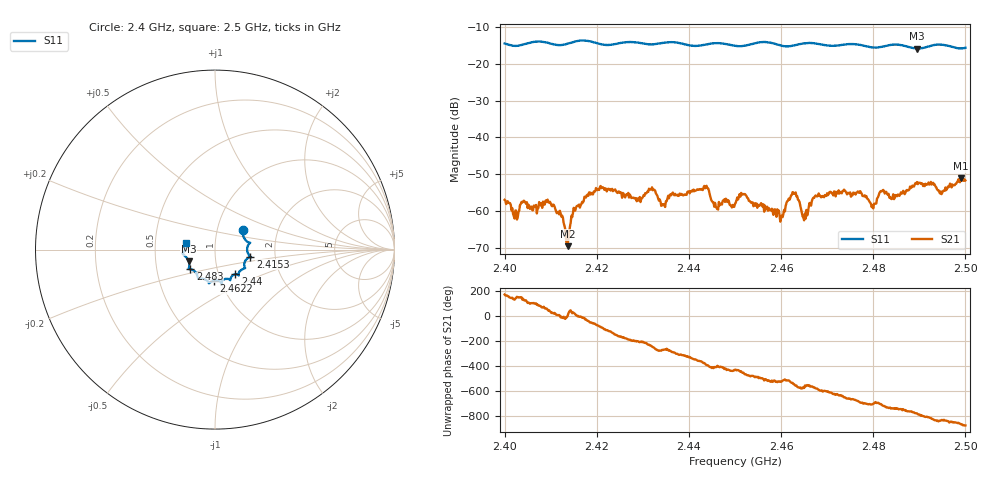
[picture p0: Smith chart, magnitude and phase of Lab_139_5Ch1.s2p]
# Hz S RI R 50
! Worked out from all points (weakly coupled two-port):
!   601 points, 2.4 GHz to 2.5 GHz, reference 50 ohm
!   highest |S21| = -51.15 dB at 2.499 GHz (marker M1); lowest = -69.5 dB at 2.4137 GHz (marker M2)
!   lowest |S11| = -15.9 dB at 2.4895 GHz (marker M3), VSWR 1.38, Z = 36.9 - j4.99 ohm
!   |S11| at or under -10 dB: start of sweep to end of sweep
!   S12 and S22 are empty: the file has one direction only
!   S11 on the Smith chart (normalised r, x): 2.4 GHz: 1.33, +0.29; 2.4153 GHz: 1.48, -0.12; 2.44 GHz: 1.20, -0.34; 2.4622 GHz: 0.93, -0.33; 2.483 GHz: 0.74, -0.17; 2.5 GHz: 0.72, +0.06
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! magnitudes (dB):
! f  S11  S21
! 2.4 GHz  -14.5  -57.0
! 2.4023 GHz  -15.2  -59.8
! 2.404 GHz  -14.8  -57.4
! 2.4095 GHz  -14.4  -57.6
! 2.4137 GHz  -14.6  -69.5
! 2.4153 GHz  -14.0  -59.9
! 2.4167 GHz  -13.7  -58.1
! 2.421 GHz  -14.7  -53.8
! 2.4333 GHz  -14.6  -56.6
! 2.44 GHz  -15.0  -54.7
! 2.45 GHz  -15.1  -58.0
! 2.4518 GHz  -15.2  -55.4
! 2.4602 GHz  -15.1  -61.2
! 2.4622 GHz  -15.2  -55.8
! 2.4652 GHz  -14.4  -60.7
! 2.4667 GHz  -14.4  -57.4
! 2.483 GHz  -15.1  -55.4
! 2.4833 GHz  -15.0  -55.3
! 2.4895 GHz  -15.9  -52.1
! 2.4948 GHz  -14.8  -55.4
! 2.499 GHz  -15.8  -51.1
! 2.5 GHz  -15.7  -51.7
